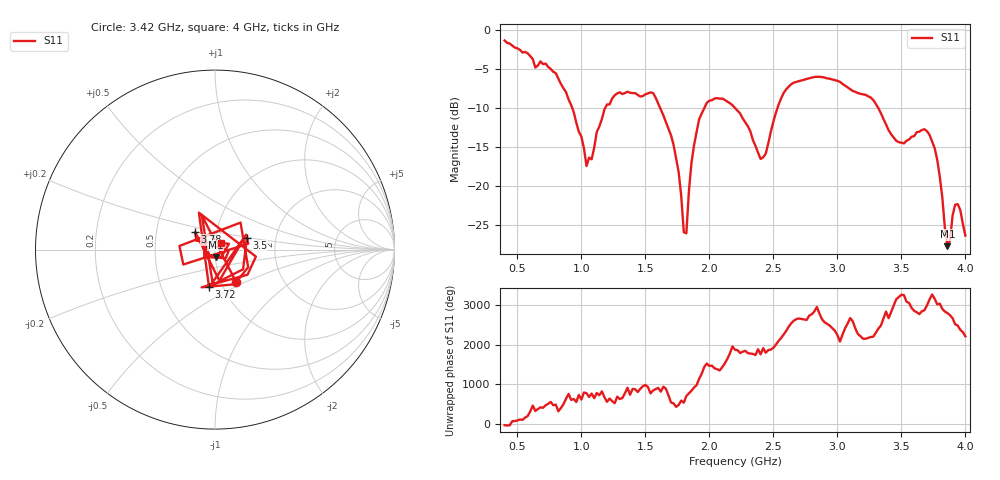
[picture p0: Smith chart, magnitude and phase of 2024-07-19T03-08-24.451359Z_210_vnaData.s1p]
!Created with skrf (http://scikit-rf.org).
# Hz S RI R 50.0
!freq ReS11 ImS11
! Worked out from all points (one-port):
!   181 points, 400 MHz to 4 GHz, reference 50 ohm
!   lowest |S11| = -27.7 dB at 3.86 GHz (marker M1), VSWR 1.09, Z = 50.3 - j4.14 ohm
!   |S11| at or under -10 dB: 1.616 GHz to 1.961 GHz (345.2 MHz wide, 19.3 % of centre); 2.2 GHz to 2.532 GHz (332.1 MHz wide, 14 % of centre); 3.319 GHz to end of sweep (the widest 3 of 4)
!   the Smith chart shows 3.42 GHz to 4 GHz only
!   S11 on the Smith chart (normalised r, x): 3.42 GHz: 1.18, -0.44; 3.5 GHz: 1.42, +0.20; 3.72 GHz: 0.86, -0.38; 3.78 GHz: 0.79, +0.16; 4 GHz: 1.06, +0.08
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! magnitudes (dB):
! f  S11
! 400 MHz  -1.4
! 860 MHz  -7.5
! 1 GHz  -13.7
! 1.04 GHz  -17.4
! 1.18 GHz  -10.2
! 1.3 GHz  -8.0
! 1.56 GHz  -8.1
! 1.7 GHz  -13.5
! 1.76 GHz  -18.2
! 1.8 GHz  -25.9
! 1.82 GHz  -26.0
! 1.86 GHz  -17.0
! 1.92 GHz  -11.4
! 2.04 GHz  -8.8
! 2.2 GHz  -10.0
! 2.4 GHz  -16.5
! 2.56 GHz  -8.8
! 2.66 GHz  -6.8
! 3.1 GHz  -7.6
! 3.28 GHz  -9.0
! 3.42 GHz  -13.4
! 3.5 GHz  -14.4
! 3.56 GHz  -14.0
! 3.72 GHz  -13.4
! 3.78 GHz  -16.6
! 3.86 GHz  -27.7
! 3.92 GHz  -22.4
! 4 GHz  -26.3
